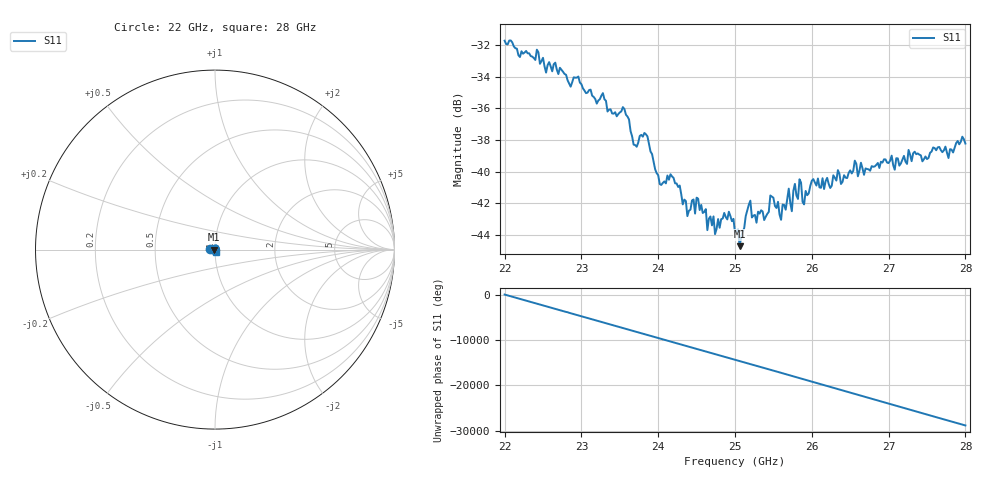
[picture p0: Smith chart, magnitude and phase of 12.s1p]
#  HZ  S  RI  R  50.00
! Rohde & Schwarz ZVA40 4Ports - Version 3.90 - 1145.1110k42 SN: 100403
! Date: 2023-10-04 08:33:04
! Measurement: S12
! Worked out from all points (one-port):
!   301 points, 22 GHz to 28 GHz, reference 50 ohm
!   lowest |S11| = -44.7 dB at 25.06 GHz (marker M1), VSWR 1.01, Z = 49.4 - j0.0499 ohm
!   |S11| at or under -10 dB: start of sweep to end of sweep
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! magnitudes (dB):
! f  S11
! 22 GHz  -31.7
! 22.76 GHz  -33.7
! 23.5 GHz  -36.3
! 23.68 GHz  -38.3
! 23.86 GHz  -37.8
! 24.02 GHz  -40.8
! 24.26 GHz  -41.0
! 24.38 GHz  -42.8
! 24.5 GHz  -41.7
! 24.62 GHz  -42.4
! 24.64 GHz  -43.7
! 24.92 GHz  -42.5
! 25 GHz  -43.9
! 25.06 GHz  -44.7
! 25.2 GHz  -41.8
! 25.28 GHz  -43.2
! 25.46 GHz  -41.5
! 25.6 GHz  -43.1
! 25.7 GHz  -41.1
! 25.74 GHz  -42.5
! 25.76 GHz  -41.2
! 25.82 GHz  -41.7
! 25.84 GHz  -40.5
! 25.9 GHz  -42.1
! 26.02 GHz  -40.5
! 26.5 GHz  -39.9
! 27.26 GHz  -38.6
! 28 GHz  -38.2
